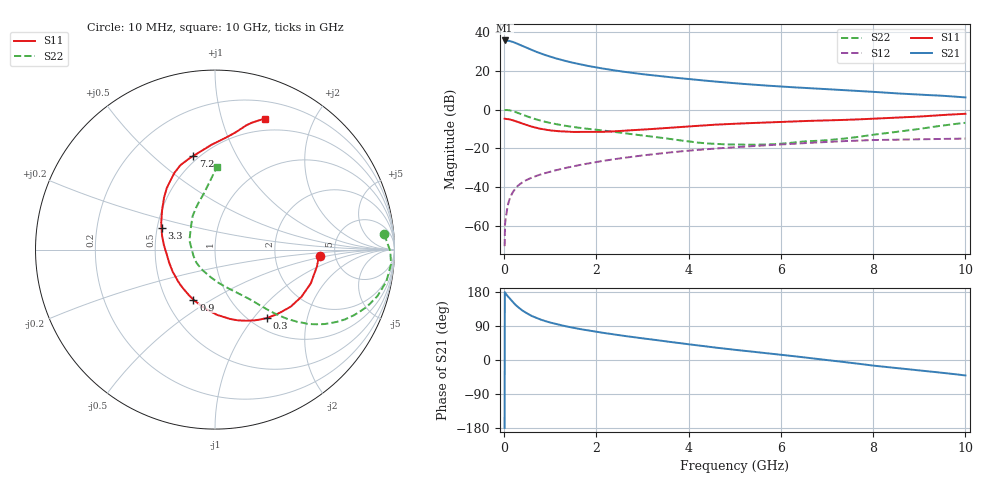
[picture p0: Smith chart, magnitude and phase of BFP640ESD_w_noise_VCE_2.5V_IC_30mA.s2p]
! Infineon Technologies  Discrete & RF Semiconductors
! BFP640ESD
! VCE =  2.5 V,  IC =  30 mA
! Common Emitter S-Parameters:  Jan 2016
# GHz  S  MA  R  50
!  f  S11  S21  S12  S22
! GHz  MAG  ANG  MAG  ANG  MAG  ANG  MAG  ANG
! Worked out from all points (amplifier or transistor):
!   233 points, 10 MHz to 10 GHz, reference 50 ohm
!   highest |S21| = 35.7 dB at 10 MHz (marker M1)
!   |S21| within 3 dB of that: start of sweep to 413.4 MHz
!   unconditionally stable (mu >= 1): start of sweep to 11.12 MHz; 2.668 GHz to 7.307 GHz
!   at 200 MHz: K = 0.25, MSG = 38.5 dB, |S12| = -42.2 dB
!   at 1.74 GHz: K = 0.94, MSG = 25.5 dB, |S12| = -28.1 dB
!   at 10 GHz: K = 0.90, MSG = 10.6 dB, |S12| = -14.9 dB
!   lowest NFmin = 1.09 dB at 450 MHz
!   S11 on the Smith chart (normalised r, x): 10 MHz: 3.76, -0.42; 300 MHz: 1.19, -1.18; 900 MHz: 0.68, -0.42; 3.3 GHz: 0.53, +0.14; 7.2 GHz: 0.47, +0.68; 10 GHz: 0.37, +1.38
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0.01  0.5844 -3.6  60.95 -179.1  0.0003 152.9  0.9468 5.2
0.02  0.5794 -4.3  60.87 177.4  0.0011 101.5  0.9768 -0.6
0.05  0.5755 -9.6  60.55 172.4  0.0021 86.2  0.9842 -4.7
0.1  0.5659 -19.4  59.8 165.2  0.0042 81.6  0.9713 -10.5
0.15  0.5489 -28.5  57.8 157.9  0.0061 78.3  0.9419 -15.9
0.2  0.5283 -37.0  55.33 151.3  0.0078 75.5  0.9047 -20.6
0.3  0.4794 -52.6  49.55 139.6  0.0109 70.8  0.8212 -28.3
0.36  0.4516 -60.8  46.08 133.9  0.0124 68.9  0.7713 -31.9
0.45  0.4143 -72.1  41.26 126.3  0.0146 66.7  0.7027 -36.3
0.6  0.3641 -88.1  34.53 116.1  0.0176 64.6  0.6072 -41.4
0.7  0.3378 -97.4  30.96 110.9  0.0195 63.9  0.558 -43.8
0.9  0.3038 -113.3  25.41 102.3  0.0232 63.4  0.4826 -47.1
1.2  0.2772 -132.5  19.8 92.6  0.0287 63.2  0.4059 -50.8
1.68  0.2647 -155.0  14.51 81.0  0.038 62.3  0.3348 -55.2
2.4  0.2757 -179.6  10.27 67.2  0.0529 58.9  0.2655 -63.6
3.3  0.3219 157.7  7.504 52.6  0.0722 52.0  0.1944 -80.7
3.4  0.3282 155.5  7.274 50.9  0.0743 51.2  0.188 -83.2
5.1  0.4385 127.3  4.696 25.7  0.1091 35.3  0.1252 -148.9
6.8  0.5193 108.3  3.473 2.8  0.1426 19.0  0.1573 153.2
7.2  0.5354 103.1  3.271 -2.9  0.1507 14.6  0.1709 143.2
8.4  0.611 86.8  2.679 -19.9  0.1673 0.5  0.2571 114.1
10  0.7812 69.2  2.067 -40.8  0.1793 -15.2  0.4581 88.8
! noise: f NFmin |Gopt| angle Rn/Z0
0.45  1.09  0.19  -166  0.09
0.9  1.1  0.19  -163  0.09
1.9  1.11  0.23  -136  0.12
2.4  1.13  0.25  -130  0.12
5.5  1.34  0.43  -104  0.18
10  1.91  0.59  -74  0.79
